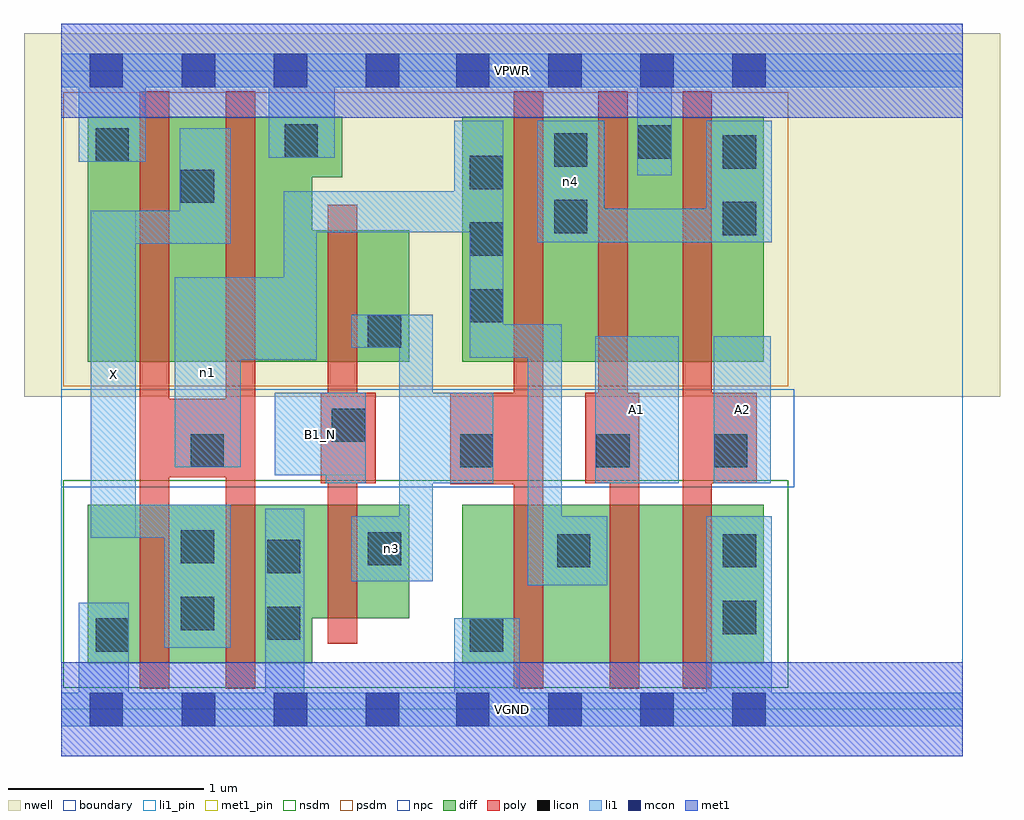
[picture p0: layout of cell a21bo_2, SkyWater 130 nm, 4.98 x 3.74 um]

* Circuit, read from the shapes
.subckt a21bo_2 A1 A2 B1_N VGND VPWR X n1 n3 n4
XM1 X n1 VGND VSUBS sky130_fd_pr__nfet_01v8 w=0.81 l=0.15 m=2
XM2 n3 B1_N VGND VSUBS sky130_fd_pr__nfet_01v8 w=0.58 l=0.15
XM3 n1 n3 VGND VSUBS sky130_fd_pr__nfet_01v8 w=0.81 l=0.15
XM4 n2 A1 n1 VSUBS sky130_fd_pr__nfet_01v8 w=0.81 l=0.15
XM5 VGND A2 n2 VSUBS sky130_fd_pr__nfet_01v8 w=0.81 l=0.15
XM6 X n1 VPWR n5 sky130_fd_pr__pfet_01v8 w=1.25 l=0.15 m=2
XM7 n3 B1_N VPWR n5 sky130_fd_pr__pfet_01v8 w=0.67 l=0.15
XM8 n4 n3 n1 n5 sky130_fd_pr__pfet_01v8 w=1.25 l=0.15
XM9 VPWR A1 n4 n5 sky130_fd_pr__pfet_01v8 w=1.25 l=0.15
XM10 n4 A2 VPWR n5 sky130_fd_pr__pfet_01v8 w=1.25 l=0.15
.ends

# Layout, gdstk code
import gdstk
lib = gdstk.Library(unit=1e-6, precision=1e-09)
def R(c, l, rs):  # rectangles x0, y0, x1, y1
    for r in rs: c.add(gdstk.rectangle(r[:2], r[2:], *l))
def A(c, l, x, y, w, h, nx, ny, dx, dy):  # array of equal rectangles
    R(c, l, [(x+i*dx, y+j*dy, x+i*dx+w, y+j*dy+h) for i in range(nx) for j in range(ny)])
nwell = (64, 20)
diff = (65, 20)
poly = (66, 20)
licon = (66, 44)
li1_pin = (67, 16)
li1 = (67, 20)
mcon = (67, 44)
met1_pin = (68, 16)
met1 = (68, 20)
nsdm = (93, 44)
psdm = (94, 20)
npc = (95, 20)
boundary = (235, 4)

a21bo_2 = lib.new_cell('a21bo_2')
R(a21bo_2, nwell, [(-0.19,1.595,4.79,3.45), (0,1.595,4.6,3.45)])
R(a21bo_2, diff, [(0.135,0.235,1.28,1.045), (2.045,0.235,3.585,1.045), (0.135,0.465,1.775,1.045), (0.135,1.775,1.28,3.025), (0.135,1.775,1.775,2.445), (2.045,1.775,3.585,3.025), (0.135,2.715,1.435,3.025)])
R(a21bo_2, poly, [(0.4,0.105,0.55,3.155), (0.84,0.105,0.99,3.155), (2.31,0.105,2.46,3.155), (2.8,0.105,2.95,1.615), (3.17,0.105,3.32,3.155), (1.36,0.335,1.51,2.575), (1.985,1.15,2.46,1.615), (1.325,1.155,1.605,1.615), (2.675,1.155,2.95,1.615), (2.74,1.155,2.89,3.155), (3.17,1.155,3.55,1.615), (0.4,1.185,0.99,1.585)])
A(a21bo_2, licon, 2.085, 1.975, 0.17, 0.17, 1, 3, 0, 0.34)
R(a21bo_2, licon, [(0.175,0.295,0.345,0.465), (2.085,0.295,2.255,0.465), (1.05,0.355,1.22,0.525), (3.375,0.385,3.545,0.555), (0.61,0.405,0.78,0.575), (1.05,0.695,1.22,0.865), (2.53,0.725,2.7,0.895), (3.375,0.725,3.545,0.895), (1.565,0.735,1.735,0.905), (0.61,0.745,0.78,0.915), (0.66,1.235,0.83,1.405), (2.035,1.235,2.205,1.405), (2.73,1.235,2.9,1.405), (3.33,1.235,3.5,1.405), (1.38,1.365,1.55,1.535), (1.565,1.845,1.735,2.015), (3.375,2.42,3.545,2.59), (2.515,2.43,2.685,2.6), (0.61,2.585,0.78,2.755), (3.375,2.76,3.545,2.93), (2.515,2.77,2.685,2.94), (0.175,2.795,0.345,2.965), (2.945,2.81,3.115,2.98), (1.14,2.815,1.31,2.985)])
R(a21bo_2, li1_pin, [(0.15,0.875,0.38,2.545), (2.725,1.155,3.15,1.905), (3.33,1.155,3.62,1.905), (1.09,1.195,1.555,1.615)])
R(a21bo_2, li1, [(0,-0.085,4.6,0.085), (0.09,-0.085,0.345,0.545), (1.04,-0.085,1.24,1.025), (2.005,-0.085,2.34,0.465), (3.29,-0.085,3.625,0.985), (0.525,0.315,0.865,1.045), (2.38,0.635,2.555,1.965), (2.38,0.635,2.785,0.985), (1.48,0.655,1.895,0.985), (1.725,0.655,1.895,2.015), (0.15,0.875,0.38,2.545), (0.15,0.875,0.865,1.045), (1.35,1.155,1.555,1.615), (1.725,1.155,2.205,1.615), (2.725,1.155,3.15,1.905), (3.33,1.155,3.62,1.905), (1.09,1.195,1.555,1.615), (0.58,1.235,0.915,2.205), (0.58,1.785,1.305,2.205), (1.135,1.785,1.305,2.645), (2.085,1.795,2.255,3.005), (2.085,1.795,2.555,1.965), (1.48,1.845,1.895,2.015), (0.15,2.375,0.865,2.545), (0.605,2.375,0.865,2.965), (2.43,2.385,2.77,3.005), (2.43,2.385,3.625,2.555), (3.29,2.385,3.625,3.005), (1.135,2.435,2.255,2.645), (2.005,2.435,2.255,3.005), (2.94,2.725,3.115,3.345), (0.09,2.795,0.43,3.345), (1.06,2.815,1.395,3.345), (0,3.175,4.6,3.345)])
A(a21bo_2, mcon, 0.145, -0.085, 0.17, 0.17, 4, 2, 0.47, 3.26)
A(a21bo_2, mcon, 2.015, -0.085, 0.17, 0.17, 4, 2, 0.47, 3.26)
R(a21bo_2, met1_pin, [(0,-0.24,4.6,0.24), (0,3.02,4.6,3.5)])
R(a21bo_2, met1, [(0,-0.24,4.6,0.24), (0,3.02,4.6,3.5)])
R(a21bo_2, nsdm, [(0.01,0.11,3.71,1.17)])
R(a21bo_2, psdm, [(0.01,1.65,3.71,3.15)])
R(a21bo_2, npc, [(0,1.135,3.74,1.635)])
R(a21bo_2, boundary, [(0,0,4.6,3.26)])
a21bo_2.add(gdstk.Label('A1', (2.937,1.53), layer=67, texttype=5))
a21bo_2.add(gdstk.Label('A2', (3.475,1.53), layer=67, texttype=5))
a21bo_2.add(gdstk.Label('B1_N', (1.322,1.405), layer=67, texttype=5))
a21bo_2.add(gdstk.Label('X', (0.265,1.71), layer=67, texttype=5))
a21bo_2.add(gdstk.Label('n3', (1.687,0.82), layer=67, texttype=5))
a21bo_2.add(gdstk.Label('n1', (0.747,1.72), layer=67, texttype=5))
a21bo_2.add(gdstk.Label('n4', (2.6,2.695), layer=67, texttype=5))
a21bo_2.add(gdstk.Label('VPWR', (2.3,3.26), layer=68, texttype=5))
a21bo_2.add(gdstk.Label('VGND', (2.3,0), layer=68, texttype=5))
a21bo_2.add(gdstk.Label('A1', (2.937,1.53), layer=67, texttype=16))
a21bo_2.add(gdstk.Label('A2', (3.475,1.53), layer=67, texttype=16))
a21bo_2.add(gdstk.Label('B1_N', (1.322,1.405), layer=67, texttype=16))
a21bo_2.add(gdstk.Label('X', (0.265,1.71), layer=67, texttype=16))
a21bo_2.add(gdstk.Label('VPWR', (2.3,3.26), layer=68, texttype=16))
a21bo_2.add(gdstk.Label('VGND', (2.3,0), layer=68, texttype=16))

lib.write_gds('a21bo_2.gds')
